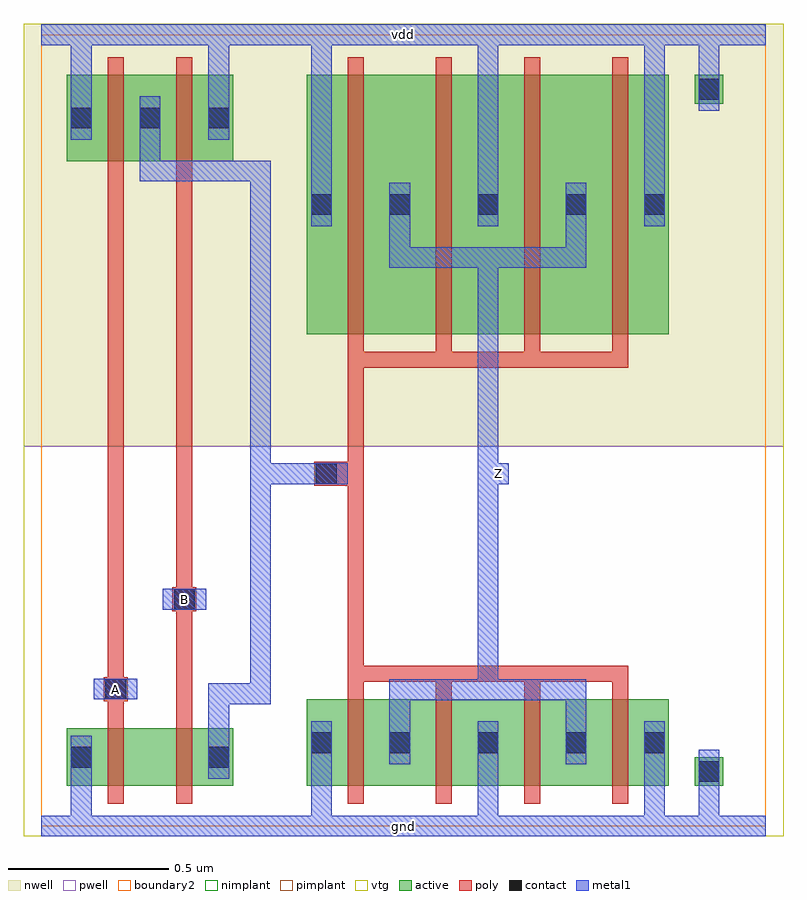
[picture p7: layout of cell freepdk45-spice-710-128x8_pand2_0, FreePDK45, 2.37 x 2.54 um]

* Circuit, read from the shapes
.subckt freepdk45-spice-710-128x8_pand2_0 A B Z gnd vdd
M1 freepdk45-spice-710-128x8_pnand2_0_0/freepdk45-spice-710-128x8_nmos_m1_w0_180_sm1_dactive_2/D A gnd gnd nfet w=0.18u l=0.05u
M2 freepdk45-spice-710-128x8_pdriver_0_1/A B freepdk45-spice-710-128x8_pnand2_0_0/freepdk45-spice-710-128x8_nmos_m1_w0_180_sm1_dactive_2/D gnd nfet w=0.18u l=0.05u
M3 Z freepdk45-spice-710-128x8_pdriver_0_1/A gnd gnd nfet w=0.27u l=0.05u m=4
M4 freepdk45-spice-710-128x8_pdriver_0_1/A A vdd vdd pfet w=0.27u l=0.05u
M5 vdd B freepdk45-spice-710-128x8_pdriver_0_1/A vdd pfet w=0.27u l=0.05u
M6 Z freepdk45-spice-710-128x8_pdriver_0_1/A vdd vdd pfet w=0.81u l=0.05u m=4
.ends

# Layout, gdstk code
import gdstk
lib = gdstk.Library(unit=1e-6, precision=5e-10)
def R(c, l, rs):  # rectangles x0, y0, x1, y1
    for r in rs: c.add(gdstk.rectangle(r[:2], r[2:], *l))
def A(c, l, x, y, w, h, nx, ny, dx, dy):  # array of equal rectangles
    R(c, l, [(x+i*dx, y+j*dy, x+i*dx+w, y+j*dy+h) for i in range(nx) for j in range(ny)])
active = (1, 0)
pwell = (2, 0)
nwell = (3, 0)
nimplant = (4, 0)
pimplant = (5, 0)
vtg = (6, 0)
poly = (9, 0)
contact = (10, 0)
metal1 = (11, 0)
boundary2 = (239, 0)

freepdk45_spice_710_128x = lib.new_cell('freepdk45-spice-710-128x8_contact_11')
R(freepdk45_spice_710_128x, active, [(0,0.0225,0.09,0.1125)])
R(freepdk45_spice_710_128x, nwell, [(-0.055,-0.0325,0.145,0.1675)])
R(freepdk45_spice_710_128x, pimplant, [(0,0.0225,0.09,0.1125)])
R(freepdk45_spice_710_128x, contact, [(0.0125,0.035,0.0775,0.1)])
R(freepdk45_spice_710_128x, metal1, [(0.0125,0,0.0775,0.135)])
R(freepdk45_spice_710_128x, boundary2, [(-0.055,-0.0325,0.145,0.1675)])

c_freepdk45_spice_710_128x = lib.new_cell('freepdk45-spice-710-128x8_pmos_m1_w0_270_sm1_dm1')
R(c_freepdk45_spice_710_128x, active, [(0,0,0.305,0.27)])
R(c_freepdk45_spice_710_128x, nwell, [(-0.08,-0.08,0.385,0.35)])
R(c_freepdk45_spice_710_128x, pimplant, [(0,0,0.305,0.27)])
R(c_freepdk45_spice_710_128x, vtg, [(-0.08,-0.08,0.385,0.35)])
R(c_freepdk45_spice_710_128x, poly, [(0.1275,-0.055,0.1775,0.325), (0.1275,-0.055,0.1775,0.325)])
R(c_freepdk45_spice_710_128x, metal1, [(0.0125,0.0675,0.0775,0.2025), (0.2275,0.0675,0.2925,0.2025)])
R(c_freepdk45_spice_710_128x, boundary2, [(-0.08,-0.08,0.385,0.35)])
c_freepdk45_spice_710_128x.add(gdstk.Reference(freepdk45_spice_710_128x, (0,0.0675)))
c_freepdk45_spice_710_128x.add(gdstk.Reference(freepdk45_spice_710_128x, (0.215,0.0675)))
c_freepdk45_spice_710_128x.add(gdstk.Label('G', (0.1525,0.135), layer=9, texttype=0))
c_freepdk45_spice_710_128x.add(gdstk.Label('S', (0.045,0.135), layer=11, texttype=0))
c_freepdk45_spice_710_128x.add(gdstk.Label('D', (0.26,0.135), layer=11, texttype=0))

c_freepdk45_spice_710_128x_ = lib.new_cell('freepdk45-spice-710-128x8_contact_10')
R(c_freepdk45_spice_710_128x_, active, [(0,0.0225,0.09,0.1125)])
R(c_freepdk45_spice_710_128x_, pwell, [(-0.055,-0.0325,0.145,0.1675)])
R(c_freepdk45_spice_710_128x_, nimplant, [(0,0.0225,0.09,0.1125)])
R(c_freepdk45_spice_710_128x_, contact, [(0.0125,0.035,0.0775,0.1)])
R(c_freepdk45_spice_710_128x_, metal1, [(0.0125,0,0.0775,0.135)])
R(c_freepdk45_spice_710_128x_, boundary2, [(-0.055,-0.0325,0.145,0.1675)])

c_freepdk45_spice_710_128x__ = lib.new_cell('freepdk45-spice-710-128x8_nmos_m1_w0_180_sm1_dactive')
R(c_freepdk45_spice_710_128x__, active, [(0,0,0.305,0.18), (0.215,0.045,0.305,0.135)])
R(c_freepdk45_spice_710_128x__, pwell, [(-0.08,-0.08,0.385,0.26)])
R(c_freepdk45_spice_710_128x__, nimplant, [(0,0,0.305,0.18)])
R(c_freepdk45_spice_710_128x__, vtg, [(-0.08,-0.08,0.385,0.26)])
R(c_freepdk45_spice_710_128x__, poly, [(0.1275,-0.055,0.1775,0.235), (0.1275,-0.055,0.1775,0.235)])
R(c_freepdk45_spice_710_128x__, metal1, [(0.0125,0.0225,0.0775,0.1575)])
R(c_freepdk45_spice_710_128x__, boundary2, [(-0.08,-0.08,0.385,0.26)])
c_freepdk45_spice_710_128x__.add(gdstk.Reference(c_freepdk45_spice_710_128x_, (0,0.0225)))
c_freepdk45_spice_710_128x__.add(gdstk.Label('G', (0.1525,0.09), layer=9, texttype=0))
c_freepdk45_spice_710_128x__.add(gdstk.Label('S', (0.045,0.09), layer=11, texttype=0))
c_freepdk45_spice_710_128x__.add(gdstk.Label('D', (0.26,0.09), layer=1, texttype=0))

c_freepdk45_spice_710_128x___ = lib.new_cell('freepdk45-spice-710-128x8_nmos_m1_w0_180_sactive_dm1')
R(c_freepdk45_spice_710_128x___, active, [(0,0,0.305,0.18), (0,0.045,0.09,0.135)])
R(c_freepdk45_spice_710_128x___, pwell, [(-0.08,-0.08,0.385,0.26)])
R(c_freepdk45_spice_710_128x___, nimplant, [(0,0,0.305,0.18)])
R(c_freepdk45_spice_710_128x___, vtg, [(-0.08,-0.08,0.385,0.26)])
R(c_freepdk45_spice_710_128x___, poly, [(0.1275,-0.055,0.1775,0.235), (0.1275,-0.055,0.1775,0.235)])
R(c_freepdk45_spice_710_128x___, metal1, [(0.2275,0.0225,0.2925,0.1575)])
R(c_freepdk45_spice_710_128x___, boundary2, [(-0.08,-0.08,0.385,0.26)])
c_freepdk45_spice_710_128x___.add(gdstk.Reference(c_freepdk45_spice_710_128x_, (0.215,0.0225)))
c_freepdk45_spice_710_128x___.add(gdstk.Label('G', (0.1525,0.09), layer=9, texttype=0))
c_freepdk45_spice_710_128x___.add(gdstk.Label('S', (0.045,0.09), layer=1, texttype=0))
c_freepdk45_spice_710_128x___.add(gdstk.Label('D', (0.26,0.09), layer=11, texttype=0))

c_freepdk45_spice_710_128x____ = lib.new_cell('freepdk45-spice-710-128x8_contact_14')
R(c_freepdk45_spice_710_128x____, poly, [(0.03,0,0.105,0.075)])
R(c_freepdk45_spice_710_128x____, contact, [(0.035,0.005,0.1,0.07)])
R(c_freepdk45_spice_710_128x____, metal1, [(0,0.005,0.135,0.07)])
R(c_freepdk45_spice_710_128x____, boundary2, [(0,0,0.135,0.075)])

c_freepdk45_spice_710_128x_____ = lib.new_cell('freepdk45-spice-710-128x8_pnand2_0')
R(c_freepdk45_spice_710_128x_____, pwell, [(-0.055,-0.0325,0.805,1.185)])
R(c_freepdk45_spice_710_128x_____, nwell, [(-0.055,1.185,0.805,2.505)])
R(c_freepdk45_spice_710_128x_____, vtg, [(-0.055,-0.0325,0.805,1.185), (-0.055,1.185,0.805,2.505)])
R(c_freepdk45_spice_710_128x_____, poly, [(0.2075,0.36,0.2575,2.02), (0.4225,0.36,0.4725,2.02), (0.2075,0.39,0.2325,0.465), (0.4225,0.67,0.4475,0.745)])
R(c_freepdk45_spice_710_128x_____, metal1, [(0,-0.0325,0.75,0.0325), (0.0925,-0.0325,0.1575,0.1475), (0.5225,0.2825,0.5875,0.4125), (0.5225,0.38,0.5875,0.445), (0.555,0.38,0.685,0.445), (0.6525,0.38,0.7175,0.445), (0.165,0.395,0.3,0.46), (0.6525,0.4125,0.7175,2.045), (0.38,0.675,0.515,0.74), (0.3075,2.0125,0.3725,2.0775), (0.34,2.0125,0.685,2.0775), (0.6525,2.0125,0.7175,2.0775), (0.3075,2.045,0.3725,2.1425), (0.0925,2.1425,0.1575,2.5025), (0.5225,2.1425,0.5875,2.5025), (0,2.4375,0.75,2.5025)])
R(c_freepdk45_spice_710_128x_____, boundary2, [(0,0,0.75,2.47), (0,0,0.75,2.47)])
c_freepdk45_spice_710_128x_____.add(gdstk.Reference(c_freepdk45_spice_710_128x, (0.08,2.075)))
c_freepdk45_spice_710_128x_____.add(gdstk.Reference(c_freepdk45_spice_710_128x, (0.295,2.075)))
c_freepdk45_spice_710_128x_____.add(gdstk.Reference(c_freepdk45_spice_710_128x__, (0.08,0.125)))
c_freepdk45_spice_710_128x_____.add(gdstk.Reference(c_freepdk45_spice_710_128x___, (0.295,0.125)))
c_freepdk45_spice_710_128x_____.add(gdstk.Reference(c_freepdk45_spice_710_128x____, (0.165,0.39)))
c_freepdk45_spice_710_128x_____.add(gdstk.Reference(c_freepdk45_spice_710_128x____, (0.38,0.67)))
c_freepdk45_spice_710_128x_____.add(gdstk.Label('Z', (0.685,2.045), layer=11, texttype=0))
c_freepdk45_spice_710_128x_____.add(gdstk.Label('gnd', (0.375,0), layer=11, texttype=0))
c_freepdk45_spice_710_128x_____.add(gdstk.Label('vdd', (0.375,2.47), layer=11, texttype=0))
c_freepdk45_spice_710_128x_____.add(gdstk.Label('A', (0.2325,0.4275), layer=11, texttype=0))
c_freepdk45_spice_710_128x_____.add(gdstk.Label('B', (0.4475,0.7075), layer=11, texttype=0))

c_freepdk45_spice_710_128x______ = lib.new_cell('freepdk45-spice-710-128x8_pmos_m4_w0_810_sm1_dm1_da_p')
R(c_freepdk45_spice_710_128x______, active, [(0,0,1.13,0.81)])
R(c_freepdk45_spice_710_128x______, nwell, [(-0.08,-0.08,1.21,0.89)])
R(c_freepdk45_spice_710_128x______, pimplant, [(0,0,1.13,0.81)])
R(c_freepdk45_spice_710_128x______, vtg, [(-0.08,-0.08,1.21,0.89)])
A(c_freepdk45_spice_710_128x______, poly, 0.1275, -0.055, 0.05, 0.92, 4, 1, 0.275, 0)
R(c_freepdk45_spice_710_128x______, poly, [(0.1275,-0.105,1.0025,-0.055)])
A(c_freepdk45_spice_710_128x______, metal1, 0.0125, 0.3375, 0.065, 0.135, 3, 1, 0.52, 0)
R(c_freepdk45_spice_710_128x______, metal1, [(0.2575,0.2075,0.8725,0.2725), (0.2575,0.24,0.3225,0.405), (0.8075,0.24,0.8725,0.405)])
R(c_freepdk45_spice_710_128x______, boundary2, [(-0.08,-0.105,1.21,0.89)])
c_freepdk45_spice_710_128x______.add(gdstk.Reference(freepdk45_spice_710_128x, (0,0.3375)))
c_freepdk45_spice_710_128x______.add(gdstk.Reference(freepdk45_spice_710_128x, (0.245,0.3375)))
c_freepdk45_spice_710_128x______.add(gdstk.Reference(freepdk45_spice_710_128x, (0.52,0.3375)))
c_freepdk45_spice_710_128x______.add(gdstk.Reference(freepdk45_spice_710_128x, (0.795,0.3375)))
c_freepdk45_spice_710_128x______.add(gdstk.Reference(freepdk45_spice_710_128x, (1.04,0.3375)))
c_freepdk45_spice_710_128x______.add(gdstk.Label('G', (0.565,-0.08), layer=9, texttype=0))
c_freepdk45_spice_710_128x______.add(gdstk.Label('S', (1.085,0.405), layer=11, texttype=0))
c_freepdk45_spice_710_128x______.add(gdstk.Label('S', (0.045,0.405), layer=11, texttype=0))
c_freepdk45_spice_710_128x______.add(gdstk.Label('S', (0.565,0.405), layer=11, texttype=0))
c_freepdk45_spice_710_128x______.add(gdstk.Label('D', (0.565,0.24), layer=11, texttype=0))

c_freepdk45_spice_710_128x_______ = lib.new_cell('freepdk45-spice-710-128x8_nmos_m4_w0_270_sm1_dm1_da_p')
R(c_freepdk45_spice_710_128x_______, active, [(0,0,1.13,0.27)])
R(c_freepdk45_spice_710_128x_______, pwell, [(-0.08,-0.08,1.21,0.35)])
R(c_freepdk45_spice_710_128x_______, nimplant, [(0,0,1.13,0.27)])
R(c_freepdk45_spice_710_128x_______, vtg, [(-0.08,-0.08,1.21,0.35)])
A(c_freepdk45_spice_710_128x_______, poly, 0.1275, -0.055, 0.05, 0.38, 4, 1, 0.275, 0)
R(c_freepdk45_spice_710_128x_______, poly, [(0.1275,0.325,1.0025,0.375)])
A(c_freepdk45_spice_710_128x_______, metal1, 0.0125, 0.0675, 0.065, 0.135, 3, 1, 0.52, 0)
R(c_freepdk45_spice_710_128x_______, metal1, [(0.2575,0.135,0.3225,0.3), (0.8075,0.135,0.8725,0.3), (0.2575,0.2675,0.8725,0.3325)])
R(c_freepdk45_spice_710_128x_______, boundary2, [(-0.08,-0.08,1.21,0.375)])
c_freepdk45_spice_710_128x_______.add(gdstk.Reference(c_freepdk45_spice_710_128x_, (0,0.0675)))
c_freepdk45_spice_710_128x_______.add(gdstk.Reference(c_freepdk45_spice_710_128x_, (0.245,0.0675)))
c_freepdk45_spice_710_128x_______.add(gdstk.Reference(c_freepdk45_spice_710_128x_, (0.52,0.0675)))
c_freepdk45_spice_710_128x_______.add(gdstk.Reference(c_freepdk45_spice_710_128x_, (0.795,0.0675)))
c_freepdk45_spice_710_128x_______.add(gdstk.Reference(c_freepdk45_spice_710_128x_, (1.04,0.0675)))
c_freepdk45_spice_710_128x_______.add(gdstk.Label('G', (0.565,0.35), layer=9, texttype=0))
c_freepdk45_spice_710_128x_______.add(gdstk.Label('S', (0.565,0.135), layer=11, texttype=0))
c_freepdk45_spice_710_128x_______.add(gdstk.Label('S', (0.045,0.135), layer=11, texttype=0))
c_freepdk45_spice_710_128x_______.add(gdstk.Label('S', (1.085,0.135), layer=11, texttype=0))
c_freepdk45_spice_710_128x_______.add(gdstk.Label('D', (0.565,0.3), layer=11, texttype=0))

c_freepdk45_spice_710_128x________ = lib.new_cell('freepdk45-spice-710-128x8_contact_12')
R(c_freepdk45_spice_710_128x________, active, [(0,0.0225,0.09,0.1125)])
R(c_freepdk45_spice_710_128x________, nwell, [(-0.055,-0.0325,0.145,0.1675)])
R(c_freepdk45_spice_710_128x________, nimplant, [(0,0.0225,0.09,0.1125)])
R(c_freepdk45_spice_710_128x________, contact, [(0.0125,0.035,0.0775,0.1)])
R(c_freepdk45_spice_710_128x________, metal1, [(0.0125,0,0.0775,0.135)])
R(c_freepdk45_spice_710_128x________, boundary2, [(-0.055,-0.0325,0.145,0.1675)])

c_freepdk45_spice_710_128x_________ = lib.new_cell('freepdk45-spice-710-128x8_contact_13')
R(c_freepdk45_spice_710_128x_________, active, [(0,0.0225,0.09,0.1125)])
R(c_freepdk45_spice_710_128x_________, pwell, [(-0.055,-0.0325,0.145,0.1675)])
R(c_freepdk45_spice_710_128x_________, pimplant, [(0,0.0225,0.09,0.1125)])
R(c_freepdk45_spice_710_128x_________, contact, [(0.0125,0.035,0.0775,0.1)])
R(c_freepdk45_spice_710_128x_________, metal1, [(0.0125,0,0.0775,0.135)])
R(c_freepdk45_spice_710_128x_________, boundary2, [(-0.055,-0.0325,0.145,0.1675)])

c_freepdk45_spice_710_128x__________ = lib.new_cell('freepdk45-spice-710-128x8_pinv_5')
R(c_freepdk45_spice_710_128x__________, pwell, [(-0.055,-0.0325,1.5675,1.185)])
R(c_freepdk45_spice_710_128x__________, nwell, [(-0.055,1.185,1.5675,2.505)])
R(c_freepdk45_spice_710_128x__________, vtg, [(-0.055,-0.0325,1.5675,1.185), (-0.055,1.185,1.5675,2.505)])
R(c_freepdk45_spice_710_128x__________, poly, [(0.2075,0.5,0.2575,1.43), (0.14,1.0625,0.2075,1.1375)])
A(c_freepdk45_spice_710_128x__________, metal1, 0.0925, -0.0325, 0.065, 0.225, 3, 1, 0.52, 0)
A(c_freepdk45_spice_710_128x__________, metal1, 0.0925, 1.8725, 0.065, 0.63, 3, 1, 0.52, 0)
R(c_freepdk45_spice_710_128x__________, metal1, [(0,-0.0325,1.5125,0.0325), (1.3025,0,1.3675,0.17), (0.6125,0.3925,0.6775,1.8075), (0.0725,1.0675,0.2075,1.1325), (0.645,1.0675,0.71,1.1325), (1.3025,2.3,1.3675,2.47), (0,2.4375,1.5125,2.5025)])
R(c_freepdk45_spice_710_128x__________, boundary2, [(0,0,1.5125,2.47), (0,0,1.5125,2.47)])
c_freepdk45_spice_710_128x__________.add(gdstk.Reference(c_freepdk45_spice_710_128x______, (0.08,1.535)))
c_freepdk45_spice_710_128x__________.add(gdstk.Reference(c_freepdk45_spice_710_128x_______, (0.08,0.125)))
c_freepdk45_spice_710_128x__________.add(gdstk.Reference(c_freepdk45_spice_710_128x________, (1.29,2.2325)))
c_freepdk45_spice_710_128x__________.add(gdstk.Reference(c_freepdk45_spice_710_128x_________, (1.29,0.1025)))
c_freepdk45_spice_710_128x__________.add(gdstk.Reference(c_freepdk45_spice_710_128x____, (0.0725,1.0625)))
c_freepdk45_spice_710_128x__________.add(gdstk.Label('A', (0.14,1.1), layer=11, texttype=0))
c_freepdk45_spice_710_128x__________.add(gdstk.Label('Z', (0.6775,1.1), layer=11, texttype=0))
c_freepdk45_spice_710_128x__________.add(gdstk.Label('gnd', (0.756,0), layer=11, texttype=0))
c_freepdk45_spice_710_128x__________.add(gdstk.Label('vdd', (0.756,2.47), layer=11, texttype=0))

c_freepdk45_spice_710_128x___________ = lib.new_cell('freepdk45-spice-710-128x8_pdriver_0')
R(c_freepdk45_spice_710_128x___________, pwell, [(-0.055,-0.0325,1.5675,1.185)])
R(c_freepdk45_spice_710_128x___________, nwell, [(-0.055,1.185,1.5675,2.505)])
R(c_freepdk45_spice_710_128x___________, vtg, [(-0.055,-0.0325,1.5675,1.185), (-0.055,1.185,1.5675,2.505)])
R(c_freepdk45_spice_710_128x___________, metal1, [(0,-0.0325,1.5125,0.0325), (0.0725,1.0675,0.2075,1.1325), (0.645,1.0675,0.71,1.1325), (0,2.4375,1.5125,2.5025)])
R(c_freepdk45_spice_710_128x___________, boundary2, [(0,0,1.5125,2.47), (0,0,1.5125,2.47)])
c_freepdk45_spice_710_128x___________.add(gdstk.Reference(c_freepdk45_spice_710_128x__________, (0,0)))
c_freepdk45_spice_710_128x___________.add(gdstk.Label('Z', (0.6775,1.1), layer=11, texttype=0))
c_freepdk45_spice_710_128x___________.add(gdstk.Label('A', (0.14,1.1), layer=11, texttype=0))
c_freepdk45_spice_710_128x___________.add(gdstk.Label('gnd', (0.756,0), layer=11, texttype=0))
c_freepdk45_spice_710_128x___________.add(gdstk.Label('vdd', (0.756,2.47), layer=11, texttype=0))

c_freepdk45_spice_710_128x____________ = lib.new_cell('freepdk45-spice-710-128x8_pand2_0')
R(c_freepdk45_spice_710_128x____________, metal1, [(0,-0.0325,2.2625,0.0325), (0.165,0.395,0.3,0.46), (0.38,0.675,0.515,0.74), (0.6525,1.0675,0.7175,1.1325), (0.685,1.0675,0.89,1.1325), (1.395,1.0675,1.46,1.1325), (0.6525,1.1,0.7175,2.045), (0,2.4375,2.2625,2.5025)])
R(c_freepdk45_spice_710_128x____________, boundary2, [(0,0,2.2625,2.47), (0,0,2.2625,2.47)])
c_freepdk45_spice_710_128x____________.add(gdstk.Reference(c_freepdk45_spice_710_128x_____, (0,0)))
c_freepdk45_spice_710_128x____________.add(gdstk.Reference(c_freepdk45_spice_710_128x___________, (0.75,0)))
c_freepdk45_spice_710_128x____________.add(gdstk.Label('Z', (1.4275,1.1), layer=11, texttype=0))
c_freepdk45_spice_710_128x____________.add(gdstk.Label('A', (0.2325,0.4275), layer=11, texttype=0))
c_freepdk45_spice_710_128x____________.add(gdstk.Label('B', (0.4475,0.7075), layer=11, texttype=0))
c_freepdk45_spice_710_128x____________.add(gdstk.Label('gnd', (1.131,0), layer=11, texttype=0))
c_freepdk45_spice_710_128x____________.add(gdstk.Label('vdd', (1.131,2.47), layer=11, texttype=0))

lib.write_gds('freepdk45-spice-710-128x8_pand2_0.gds')
